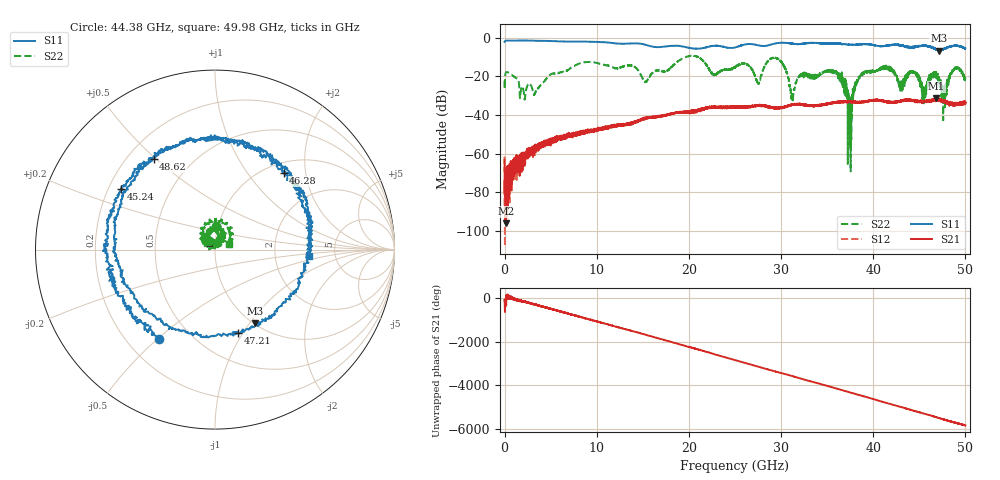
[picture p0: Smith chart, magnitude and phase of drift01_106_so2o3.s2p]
!Created with skrf (http://scikit-rf.org).
# Hz S RI R 50.0
!freq ReS11 ImS11 ReS21 ImS21 ReS12 ImS12 ReS22 ImS22
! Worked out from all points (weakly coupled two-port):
!   10001 points, 300 kHz to 50 GHz, reference 50 ohm
!   highest |S21| = -31.34 dB at 46.86 GHz (marker M1); lowest = -95.9 dB at 125.3 MHz (marker M2)
!   lowest |S11| = -6.6 dB at 47.1 GHz (marker M3), VSWR 2.76, Z = 50.8 - j53.4 ohm
!   |S11| at or under -10 dB: nowhere
!   |S22| runs from -69.1 to -9.2 dB; largest |S21 - S12| = 0.0046
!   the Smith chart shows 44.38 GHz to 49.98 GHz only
!   S11 on the Smith chart (normalised r, x): 44.38 GHz: 0.34, -0.51; 45.24 GHz: 0.25, +0.28; 46.28 GHz: 1.19, +1.51; 47.21 GHz: 0.79, -0.95; 48.62 GHz: 0.31, +0.49; 49.98 GHz: 3.19, -0.32
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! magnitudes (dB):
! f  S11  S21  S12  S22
! 300 kHz  -2.1  -63.2  -61.5  -22.2
! 125.3 MHz  -1.5  -95.9  -72.5  -18.0
! 3.29 GHz  -1.5  -56.9  -58.4  -28.8
! 8.335 GHz  -1.9  -49.7  -48.9  -12.9
! 16.67 GHz  -4.8  -40.8  -40.9  -16.7
! 25 GHz  -5.0  -35.8  -35.8  -15.5
! 29.58 GHz  -2.8  -36.4  -36.3  -10.6
! 31.24 GHz  -2.9  -34.6  -34.7  -32.4
! 33.34 GHz  -2.6  -35.2  -35.2  -19.6
! 36.08 GHz  -2.9  -33.2  -33.6  -18.7
! 37.49 GHz  -3.6  -33.3  -33.2  -38.3
! 38.65 GHz  -3.3  -33.2  -33.3  -19.8
! 41.67 GHz  -3.9  -33.2  -33.3  -16.3
! 44.38 GHz  -4.6  -32.7  -32.7  -17.6
! 45.24 GHz  -4.1  -33.2  -32.9  -23.9
! 46.28 GHz  -4.8  -32.4  -32.5  -19.0
! 46.86 GHz  -5.9  -31.3  -32.0  -19.8
! 47.1 GHz  -6.6  -32.3  -32.0  -21.2
! 47.21 GHz  -6.4  -32.3  -31.9  -24.1
! 48.62 GHz  -4.3  -34.0  -34.4  -17.2
! 49.98 GHz  -5.6  -33.4  -33.5  -21.4
! 50 GHz  -5.5  -33.9  -33.9  -21.8
